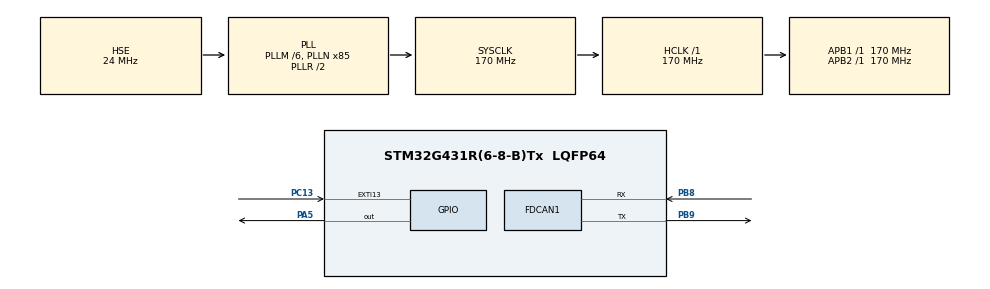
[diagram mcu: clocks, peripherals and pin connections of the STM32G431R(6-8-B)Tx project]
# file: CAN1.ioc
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FDCAN1.AutoRetransmission=ENABLE
FDCAN1.CalculateBaudRateNominal=500000
FDCAN1.CalculateTimeBitNominal=2000
FDCAN1.CalculateTimeQuantumNominal=200.0
FDCAN1.DataPrescaler=10
FDCAN1.DataTimeSeg1=14
FDCAN1.DataTimeSeg2=2
FDCAN1.FrameFormat=FDCAN_FRAME_FD_BRS
FDCAN1.Mode=FDCAN_MODE_NORMAL
FDCAN1.NominalPrescaler=34
FDCAN1.NominalTimeSeg1=8
FDCAN1.NominalTimeSeg2=1
FDCAN1.StdFiltersNbr=1
FDCAN1.TxFifoQueueMode=FDCAN_TX_QUEUE_OPERATION
Mcu.Family=STM32G4
Mcu.Name=STM32G431R(6-8-B)Tx
Mcu.Package=LQFP64
NUCLEO-G431RB.BUTTON=1
NUCLEO-G431RB.LD1=true
NUCLEO-G431RB.VCP=true
NVIC.EXTI15_10_IRQn=true\:0\:0\:false\:false\:true\:true\:true\:true
NVIC.FDCAN1_IT0_IRQn=true\:0\:0\:false\:false\:true\:true\:true\:true
NVIC.FDCAN1_IT1_IRQn=true\:0\:0\:false\:false\:true\:true\:true\:true
NVIC.PriorityGroup=NVIC_PRIORITYGROUP_4
PA13.GPIO_Label=T_SWDIO
PA13.Signal=SYS_JTMS-SWDIO
PA14.GPIO_Label=T_SWCLK
PA14.Signal=SYS_JTCK-SWCLK
PA2.Signal=LPUART1_TX
PA3.Signal=LPUART1_RX
PA5.Signal=GPIO_Output
PB3.GPIO_Label=T_SWO
PB3.Signal=SYS_JTDO-SWO
PB8-BOOT0.Mode=FDCAN_Activate
PB8-BOOT0.Signal=FDCAN1_RX
PB9.Mode=FDCAN_Activate
PB9.Signal=FDCAN1_TX
PC13.Signal=GPXTI13
PC14-OSC32_IN.GPIO_Label=RCC_OSC32_OUT
PC14-OSC32_IN.Signal=RCC_OSC32_IN
PC15-OSC32_OUT.GPIO_Label=RCC_OSC32_OUT
PC15-OSC32_OUT.Signal=RCC_OSC32_OUT
PF0-OSC_IN.GPIO_Label=RCC_OSC_IN
PF0-OSC_IN.Mode=HSE-External-Oscillator
PF0-OSC_IN.Signal=RCC_OSC_IN
PF1-OSC_OUT.GPIO_Label=RCC_OSC_OUT
PF1-OSC_OUT.Mode=HSE-External-Oscillator
PF1-OSC_OUT.Signal=RCC_OSC_OUT
ProjectManager.HeapSize=0x200
ProjectManager.StackSize=0x400
ProjectManager.TargetToolchain=STM32CubeIDE
RCC.ADC12Freq_Value=170000000
RCC.AHBFreq_Value=170000000
RCC.APB1Freq_Value=170000000
RCC.APB1TimFreq_Value=170000000
RCC.APB2Freq_Value=170000000
RCC.APB2TimFreq_Value=170000000
RCC.CortexFreq_Value=170000000
RCC.EXTERNAL_CLOCK_VALUE=12288000
RCC.HCLKFreq_Value=170000000
RCC.HSE_VALUE=24000000
RCC.HSI48_VALUE=48000000
RCC.HSI_VALUE=16000000
RCC.LSE_VALUE=32768
RCC.PLLM=RCC_PLLM_DIV6
RCC.PLLN=85
RCC.PLLSourceVirtual=RCC_PLLSOURCE_HSE
RCC.RTCClockSelection=RCC_RTCCLKSOURCE_LSE
RCC.SYSCLKFreq_VALUE=170000000
RCC.SYSCLKSource=RCC_SYSCLKSOURCE_PLLCLK
RCC.USBFreq_Value=170000000
RCC.VCOOutputFreq_Value=340000000
VP_NUCLEO-G431RB_VS_BSP_COMMON.Mode=COMMON
VP_SYS_VS_DBSignals.Mode=DisableDeadBatterySignals
board=NUCLEO-G431RB

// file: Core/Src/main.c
/* USER CODE BEGIN Header */
/**
  ******************************************************************************
  * @file           : main.c
  * @brief          : Main program body
  ******************************************************************************
  * @attention
  *
  * Copyright (c) 2026 STMicroelectronics.
  * All rights reserved.
  *
  * This software is licensed under terms that can be found in the LICENSE file
  * in the root directory of this software component.
  * If no LICENSE file comes with this software, it is provided AS-IS.
  *
  ******************************************************************************
  */
/* USER CODE END Header */
#include "main.h"

/* USER CODE BEGIN Includes */
#include <stdint.h>
#include <stdio.h>
/* USER CODE END Includes */

COM_InitTypeDef BspCOMInit;
FDCAN_HandleTypeDef hfdcan1;

/* USER CODE BEGIN PV */
/* ITM printf redirect */
int _write(int file, char *ptr, int len) {
  for (int i = 0; i < len; i++) {
    ITM_SendChar(*ptr++);
  }
  return len;
}

/* CAN variables */
FDCAN_TxHeaderTypeDef TxHeader;
FDCAN_RxHeaderTypeDef RxHeader;
uint8_t TxData[8] = "Hello!\n";
uint8_t RxData[8];

/* Flags for main loop processing (set in ISR, processed in main) */
volatile uint8_t rxFlag = 0;
volatile uint8_t txFlag = 0;

/* Ring buffer for RX frames */
#if 0
#define RB_SIZE 16
typedef struct {
  uint32_t id;
  uint8_t dlc;
  uint8_t data[8];
} CanFrame;

static volatile uint16_t rb_head = 0;
static volatile uint16_t rb_tail = 0;
static volatile uint16_t rb_count = 0;
static CanFrame rb[RB_SIZE];

static void rb_push(const FDCAN_RxHeaderTypeDef *hdr, const uint8_t *data)
{
  uint16_t next = (uint16_t)((rb_head + 1U) % RB_SIZE);
  if (rb_count == RB_SIZE) {
    rb_tail = next; /* drop oldest */
    rb_count--;
  }
  rb[rb_head].id = hdr->Identifier;
  rb[rb_head].dlc = (uint8_t)hdr->DataLength;
  for (int i = 0; i < 8; i++) {
    rb[rb_head].data[i] = data[i];
  }
  rb_head = next;
  rb_count++;
}
#endif
/* USER CODE END PV */

void SystemClock_Config(void);
static void MX_GPIO_Init(void);
static void MX_FDCAN1_Init(void);

/* USER CODE BEGIN 0 */
/* Callbacks - minimal work in ISR, set flags for main loop */
void HAL_FDCAN_RxFifo0Callback(FDCAN_HandleTypeDef *hfdcan, uint32_t RxFifo0ITs)
{
  if ((RxFifo0ITs & FDCAN_IT_RX_FIFO0_NEW_MESSAGE) != 0)
  {
    if (HAL_FDCAN_GetRxMessage(hfdcan, FDCAN_RX_FIFO0, &RxHeader, RxData) == HAL_OK)
    {
      /* Ring buffer path disabled during direct TX/RX bring-up. */
      rxFlag = 1;
    }
  }
}

void HAL_FDCAN_TxBufferCompleteCallback(FDCAN_HandleTypeDef *hfdcan, uint32_t BufferIdx)
{
  txFlag = 1;
}
/* USER CODE END 0 */

int main(void)
{

  /* MCU Configuration--------------------------------------------------------*/

  /* Reset of all peripherals, Initializes the Flash interface and the Systick. */
  HAL_Init();

  /* Configure the system clock */
  SystemClock_Config();

  /* Initialize all configured peripherals */
  MX_GPIO_Init();
  MX_FDCAN1_Init();
  /* USER CODE BEGIN 2 */

  /*==========================================================================
   * CAN CONFIGURATION
   *==========================================================================*/

  /* RX Filter: Accept messages with ID 0x446 (for loopback test, use same as TX) */
  FDCAN_FilterTypeDef filterConfig;
  filterConfig.IdType = FDCAN_STANDARD_ID;
  filterConfig.FilterIndex = 0;
  filterConfig.FilterType = FDCAN_FILTER_MASK;
  filterConfig.FilterConfig = FDCAN_FILTER_TO_RXFIFO0;
  filterConfig.FilterID1 = 0x447;   /* ID to accept */
  filterConfig.FilterID2 = 0x7FF;   /* Mask: match */
  HAL_FDCAN_ConfigFilter(&hfdcan1, &filterConfig);

  /* Global filter: reject non-matching frames */
  HAL_FDCAN_ConfigGlobalFilter(&hfdcan1, FDCAN_REJECT, FDCAN_REJECT,
                                FDCAN_FILTER_REMOTE, FDCAN_FILTER_REMOTE);

  /* TX Header configuration */
  TxHeader.Identifier = 0x446;      /* TX ID (same as filter for loopback) */
  TxHeader.IdType = FDCAN_STANDARD_ID;
  TxHeader.TxFrameType = FDCAN_DATA_FRAME;
  TxHeader.DataLength = FDCAN_DLC_BYTES_8;
  TxHeader.ErrorStateIndicator = FDCAN_ESI_ACTIVE;
  TxHeader.BitRateSwitch = FDCAN_BRS_ON;
  TxHeader.FDFormat = FDCAN_FD_CAN;
  TxHeader.TxEventFifoControl = FDCAN_NO_TX_EVENTS;
  TxHeader.MessageMarker = 0;

  /*==========================================================================*/

  /* Start FDCAN */
  HAL_FDCAN_Start(&hfdcan1);

  /* Activate notifications */
  HAL_FDCAN_ActivateNotification(&hfdcan1, FDCAN_IT_RX_FIFO0_NEW_MESSAGE, 0);
  HAL_FDCAN_ActivateNotification(&hfdcan1, FDCAN_IT_TX_COMPLETE,
                                  FDCAN_TX_BUFFER0 | FDCAN_TX_BUFFER1 | FDCAN_TX_BUFFER2);

  printf("CAN1 Loopback Test Ready!\r\n");
  printf("Auto send once per second...\r\n");

  /* USER CODE END 2 */

  /* Initialize leds */
  BSP_LED_Init(LED_GREEN);

  /* Initialize USER push-button, will be used to trigger an interrupt each time it's pressed.*/
  BSP_PB_Init(BUTTON_USER, BUTTON_MODE_EXTI);

  /* Initialize COM1 port (115200, 8 bits (7-bit data + 1 stop bit), no parity */
  BspCOMInit.BaudRate   = 115200;
  BspCOMInit.WordLength = COM_WORDLENGTH_8B;
  BspCOMInit.StopBits   = COM_STOPBITS_1;
  BspCOMInit.Parity     = COM_PARITY_NONE;
  BspCOMInit.HwFlowCtl  = COM_HWCONTROL_NONE;
  if (BSP_COM_Init(COM1, &BspCOMInit) != BSP_ERROR_NONE)
  {
    Error_Handler();
  }

  /* Infinite loop */
  /* USER CODE BEGIN WHILE */
  while (1)
  {
#if 0
    /* Button pressed - send CAN message */
    uint32_t button_state = BSP_PB_GetState(BUTTON_USER);
    if (button_prev == 1 && button_state == 0)
    {
      if (HAL_FDCAN_AddMessageToTxFifoQ(&hfdcan1, &TxHeader, TxData) == HAL_OK)
      {
        printf("TX: ID=0x%03lX Data=%s\r\n", TxHeader.Identifier, TxData);
      }
      else
      {
        printf("TX Failed!\r\n");
      }
    }
    button_prev = button_state;
#endif

    if (HAL_FDCAN_AddMessageToTxFifoQ(&hfdcan1, &TxHeader, TxData) == HAL_OK)
    {
      printf("TX: ID=0x%03lX Data=%s\r\n", TxHeader.Identifier, TxData);
    }
    else
    {
      printf("TX Failed!\r\n");
    }

    /* TX complete - processed in main loop */
    if (txFlag)
    {
      txFlag = 0;
      printf("TX Complete!\r\n");
    }

    /* RX received - processed in main loop */
    if (rxFlag)
    {
      rxFlag = 0;
      printf("RX: ID=0x%03lX Data=", RxHeader.Identifier);
      for (int i = 0; i < 8; i++)
      {
        printf("%c", RxData[i]);
      }
      printf("\r\n");
      printf("*** LOOPBACK SUCCESS! ***\r\n");
      BSP_LED_Toggle(LED_GREEN);
    }
    /* USER CODE END WHILE */

    /* USER CODE BEGIN 3 */
    HAL_Delay(1000);
  }
  /* USER CODE END 3 */
}

void SystemClock_Config(void)
{
  RCC_OscInitTypeDef RCC_OscInitStruct = {0};
  RCC_ClkInitTypeDef RCC_ClkInitStruct = {0};

  /** Configure the main internal regulator output voltage
  */
  HAL_PWREx_ControlVoltageScaling(PWR_REGULATOR_VOLTAGE_SCALE1_BOOST);

  /** Initializes the RCC Oscillators according to the specified parameters
  * in the RCC_OscInitTypeDef structure.
  */
  RCC_OscInitStruct.OscillatorType = RCC_OSCILLATORTYPE_HSE;
  RCC_OscInitStruct.HSEState = RCC_HSE_ON;
  RCC_OscInitStruct.PLL.PLLState = RCC_PLL_ON;
  RCC_OscInitStruct.PLL.PLLSource = RCC_PLLSOURCE_HSE;
  RCC_OscInitStruct.PLL.PLLM = RCC_PLLM_DIV6;
  RCC_OscInitStruct.PLL.PLLN = 85;
  RCC_OscInitStruct.PLL.PLLP = RCC_PLLP_DIV2;
  RCC_OscInitStruct.PLL.PLLQ = RCC_PLLQ_DIV2;
  RCC_OscInitStruct.PLL.PLLR = RCC_PLLR_DIV2;
  if (HAL_RCC_OscConfig(&RCC_OscInitStruct) != HAL_OK)
  {
    Error_Handler();
  }

  /** Initializes the CPU, AHB and APB buses clocks
  */
  RCC_ClkInitStruct.ClockType = RCC_CLOCKTYPE_HCLK|RCC_CLOCKTYPE_SYSCLK
                              |RCC_CLOCKTYPE_PCLK1|RCC_CLOCKTYPE_PCLK2;
  RCC_ClkInitStruct.SYSCLKSource = RCC_SYSCLKSOURCE_PLLCLK;
  RCC_ClkInitStruct.AHBCLKDivider = RCC_SYSCLK_DIV1;
  RCC_ClkInitStruct.APB1CLKDivider = RCC_HCLK_DIV1;
  RCC_ClkInitStruct.APB2CLKDivider = RCC_HCLK_DIV1;

  if (HAL_RCC_ClockConfig(&RCC_ClkInitStruct, FLASH_LATENCY_4) != HAL_OK)
  {
    Error_Handler();
  }
}

static void MX_FDCAN1_Init(void)
{

  hfdcan1.Instance = FDCAN1;
  hfdcan1.Init.ClockDivider = FDCAN_CLOCK_DIV1;
  hfdcan1.Init.FrameFormat = FDCAN_FRAME_FD_BRS;
  hfdcan1.Init.Mode = FDCAN_MODE_NORMAL;
  hfdcan1.Init.AutoRetransmission = ENABLE;
  hfdcan1.Init.TransmitPause = DISABLE;
  hfdcan1.Init.ProtocolException = DISABLE;
  hfdcan1.Init.NominalPrescaler = 34;
  hfdcan1.Init.NominalSyncJumpWidth = 1;
  hfdcan1.Init.NominalTimeSeg1 = 8;
  hfdcan1.Init.NominalTimeSeg2 = 1;
  hfdcan1.Init.DataPrescaler = 10;
  hfdcan1.Init.DataSyncJumpWidth = 1;
  hfdcan1.Init.DataTimeSeg1 = 14;
  hfdcan1.Init.DataTimeSeg2 = 2;
  hfdcan1.Init.StdFiltersNbr = 1;
  hfdcan1.Init.ExtFiltersNbr = 0;
  hfdcan1.Init.TxFifoQueueMode = FDCAN_TX_QUEUE_OPERATION;
  if (HAL_FDCAN_Init(&hfdcan1) != HAL_OK)
  {
    Error_Handler();
  }
  /* USER CODE BEGIN FDCAN1_Init 2 */
  /* Filter and TX header config moved to USER CODE BEGIN 2 for easy modification */
  /* USER CODE END FDCAN1_Init 2 */

}

static void MX_GPIO_Init(void)
{

  /* GPIO Ports Clock Enable */
  __HAL_RCC_GPIOC_CLK_ENABLE();
  __HAL_RCC_GPIOF_CLK_ENABLE();
  __HAL_RCC_GPIOA_CLK_ENABLE();
  __HAL_RCC_GPIOB_CLK_ENABLE();

}

void Error_Handler(void)
{
  __disable_irq();
  while (1)
  {
  }
}
